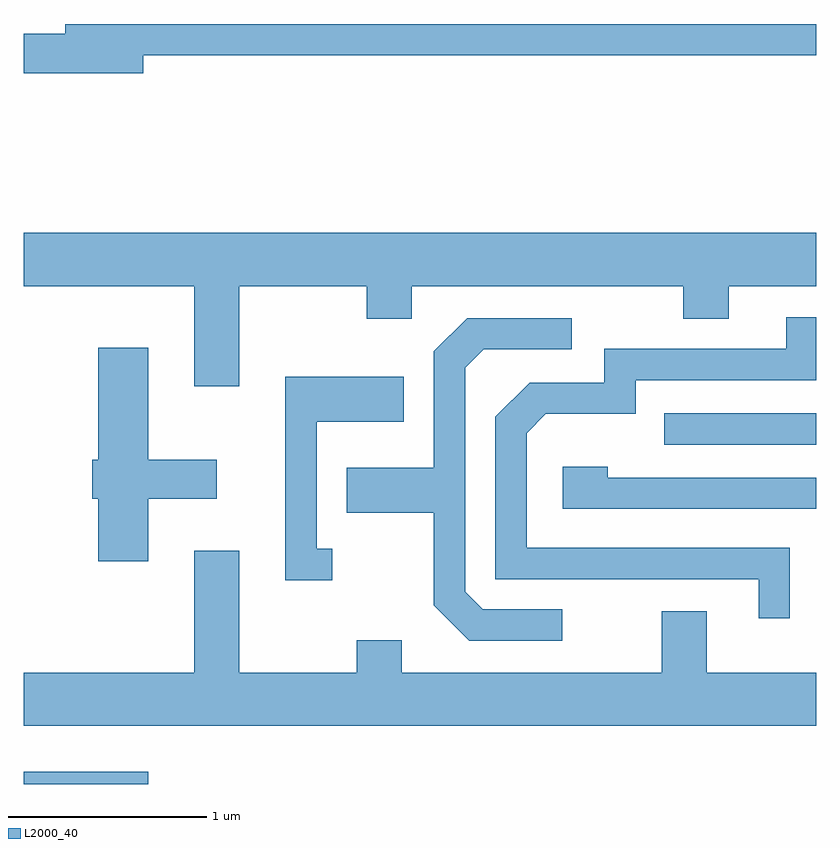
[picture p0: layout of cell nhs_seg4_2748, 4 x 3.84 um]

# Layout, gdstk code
import gdstk
lib = gdstk.Library(unit=1e-6, precision=1e-09)
def R(c, l, rs):  # rectangles x0, y0, x1, y1
    for r in rs: c.add(gdstk.rectangle(r[:2], r[2:], *l))
def P(c, l, *ps):  # polygons
    for p in ps: c.add(gdstk.Polygon(p, *l))
L2000_40 = (2000, 40)

nhs_seg4_2748 = lib.new_cell('nhs_seg4_2748')
R(nhs_seg4_2748, L2000_40, [(265.611,1309.982,266.238,1310.044), (268.843,1311.696,269.611,1311.854)])
P(nhs_seg4_2748, L2000_40, [(266.214,1313.661),(269.611,1313.661),(269.611,1313.819),(265.821,1313.819),(265.821,1313.769),(265.611,1313.769),(265.611,1313.571),(266.214,1313.571)],
  [(266.699,1312.496),(267.341,1312.496),(267.341,1312.331),(267.569,1312.331),(267.569,1312.496),(268.941,1312.496),(268.941,1312.331),(269.169,1312.331),(269.169,1312.496),(269.611,1312.496),(269.611,1312.764),(265.611,1312.764),(265.611,1312.496),(266.471,1312.496),(266.471,1311.991),(266.699,1311.991)],
  [(269.479,1311.174),(268.149,1311.174),(268.149,1311.754),(268.247,1311.851),(268.699,1311.851),(268.699,1312.021),(269.611,1312.021),(269.611,1312.339),(269.461,1312.339),(269.461,1312.179),(268.541,1312.179),(268.541,1312.009),(268.164,1312.009),(267.991,1311.837),(267.991,1311.016),(269.321,1311.016),(269.321,1310.818),(269.479,1310.818)],
  [(268.328,1310.864),(267.927,1310.864),(267.839,1310.952),(267.839,1312.084),(267.932,1312.176),(268.378,1312.176),(268.378,1312.334),(267.849,1312.334),(267.681,1312.167),(267.681,1311.579),(267.241,1311.579),(267.241,1311.351),(267.681,1311.351),(267.681,1310.884),(267.859,1310.706),(268.328,1310.706)],
  [(266.239,1311.421),(266.584,1311.421),(266.584,1311.619),(266.239,1311.619),(266.239,1312.184),(265.986,1312.184),(265.986,1311.619),(265.956,1311.619),(265.956,1311.421),(265.986,1311.421),(265.986,1311.106),(266.239,1311.106)],
  [(267.168,1311.169),(267.089,1311.169),(267.089,1311.811),(267.529,1311.811),(267.529,1312.039),(266.931,1312.039),(266.931,1311.011),(267.168,1311.011)],
  [(269.611,1311.529),(268.559,1311.529),(268.559,1311.584),(268.331,1311.584),(268.331,1311.371),(269.611,1311.371)],
  [(269.611,1310.544),(269.059,1310.544),(269.059,1310.854),(268.831,1310.854),(268.831,1310.544),(267.519,1310.544),(267.519,1310.709),(267.291,1310.709),(267.291,1310.544),(266.699,1310.544),(266.699,1311.159),(266.471,1311.159),(266.471,1310.544),(265.611,1310.544),(265.611,1310.276),(269.611,1310.276)])

lib.write_gds('nhs_seg4_2748.gds')
